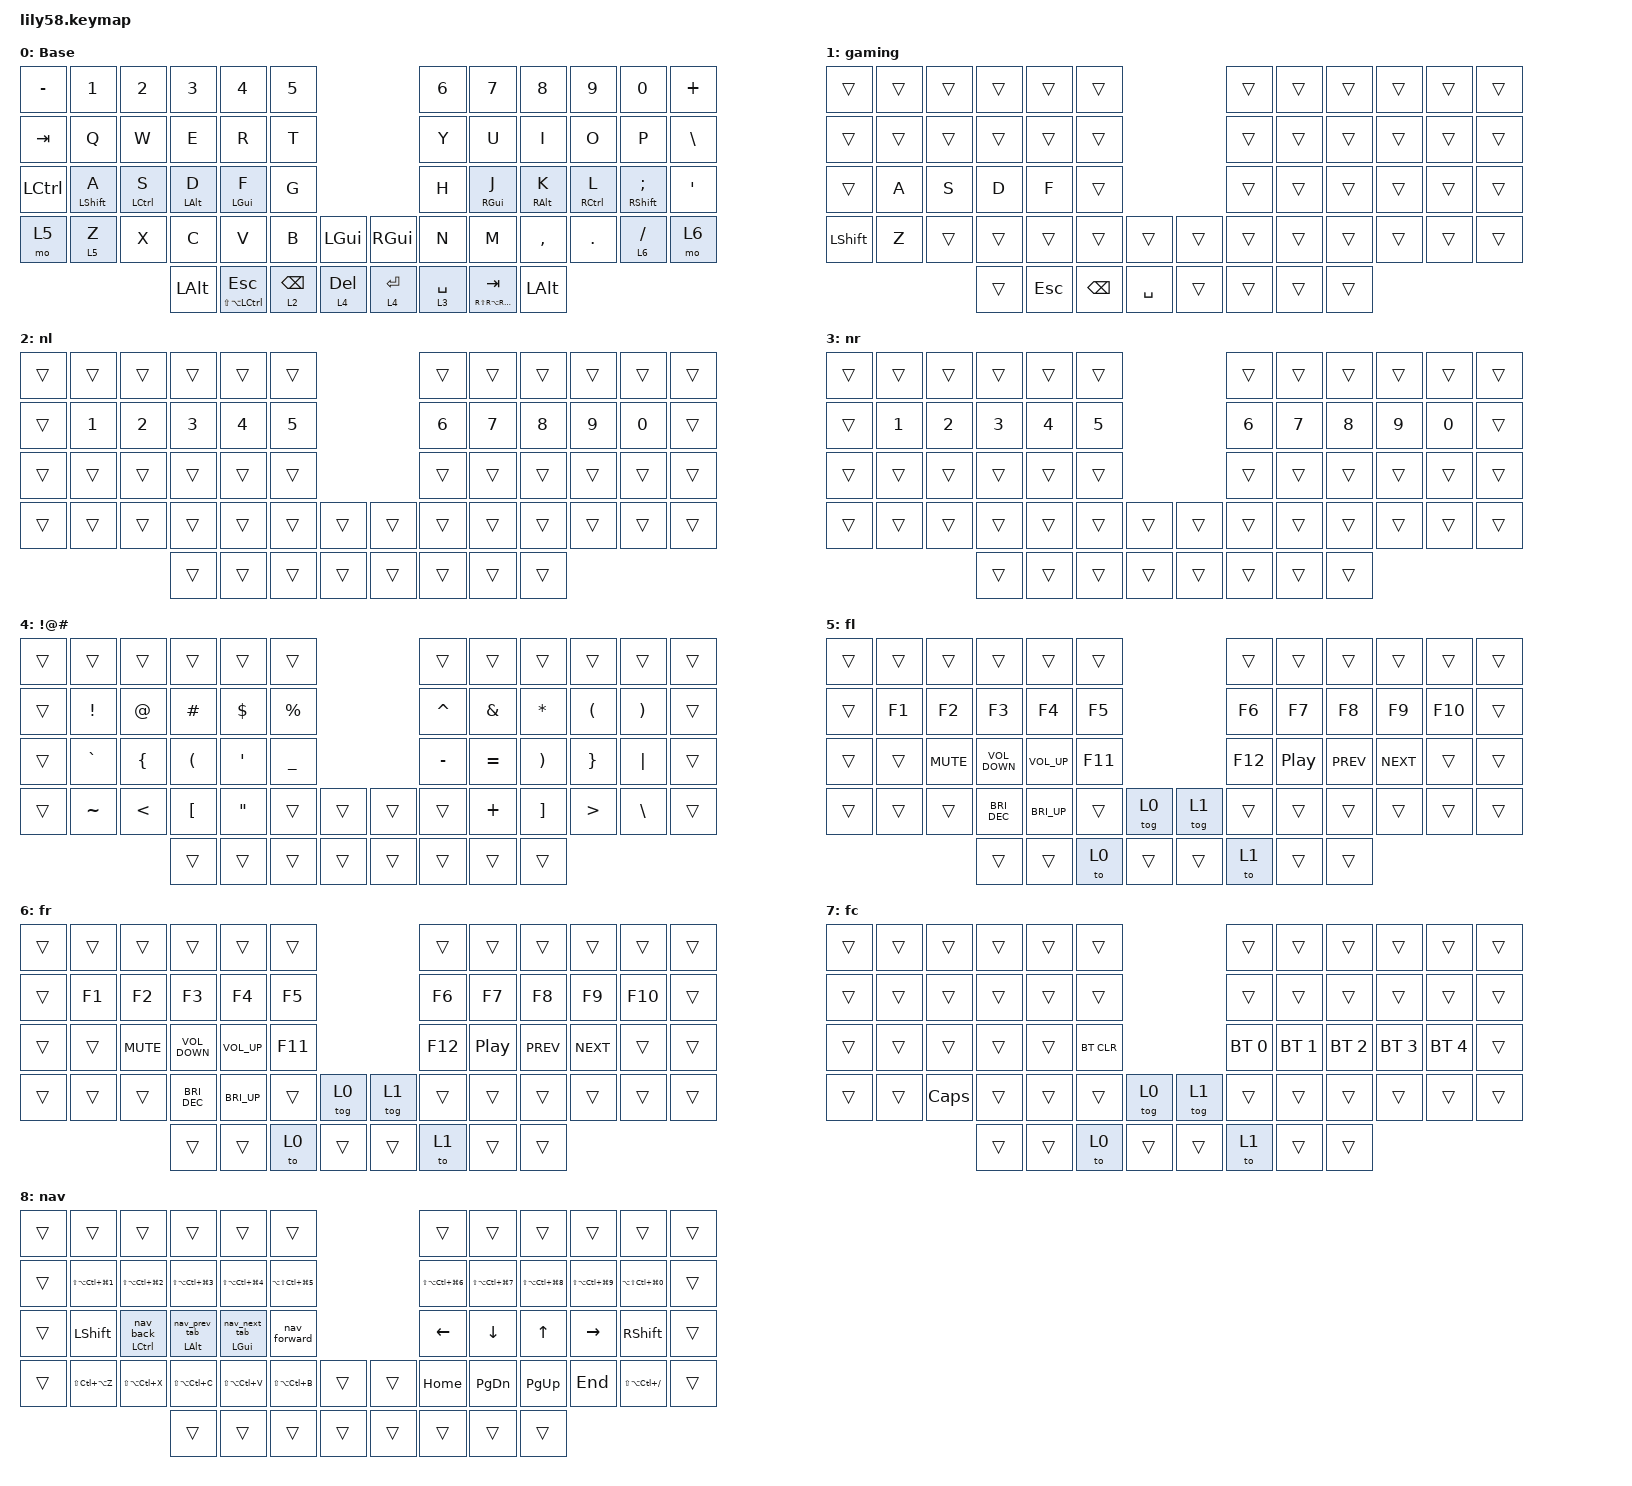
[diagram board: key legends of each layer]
/*
 * Copyright (c) 2020 The ZMK Contributors
 *
 * SPDX-License-Identifier: MIT
 */

#include <behaviors.dtsi>
#include <dt-bindings/zmk/bt.h>
#include <dt-bindings/zmk/keys.h>

&lt {
    tapping-term-ms = <275>;
    quick-tap-ms = <275>;
    require-prior-idle-ms = <100>;
    flavor = "balanced";
    hold-trigger-on-release;
};

&mt {
    tapping-term-ms = <275>;
    quick-tap-ms = <275>;
    require-prior-idle-ms = <100>;
    flavor = "balanced";
    hold-trigger-on-release;
};

/ {
    behaviors {
        hml: hml {
            compatible = "zmk,behavior-hold-tap";
            label = "HOME_ROW_MODS_LEFT";
            #binding-cells = <2>;
            tapping-term-ms = <275>;
            quick-tap-ms = <275>;
            require-prior-idle-ms = <100>;
            flavor = "balanced";
            hold-trigger-key-positions = <6 7 8 9 10 11 18 19 20 21 22 23 30 31 32 33 34 35 43 44 45 46 47 48 49 54 55 56 57>;
            hold-trigger-on-release;
            bindings = <&kp>, <&kp>;
        };

        hmr: hmr {
            compatible = "zmk,behavior-hold-tap";
            label = "HOME_ROW_MODS_RIGHT";
            bindings = <&kp>, <&kp>;

            #binding-cells = <2>;
            tapping-term-ms = <275>;
            quick-tap-ms = <275>;
            require-prior-idle-ms = <100>;
            flavor = "balanced";
            hold-trigger-on-release;
            hold-trigger-key-positions = <0 1 2 3 4 5 12 13 14 15 16 17 24 25 26 27 28 29 36 37 38 39 40 41 42 50 51 52 53>;
        };

        hnpt: hnpt {
            compatible = "zmk,behavior-hold-tap";
            label = "HRM Nav Prev Tab";
            bindings = <&kp>, <&nav_prev_tab>;

            #binding-cells = <2>;
            tapping-term-ms = <275>;
            quick-tap-ms = <275>;
            require-prior-idle-ms = <100>;
            flavor = "balanced";
            hold-trigger-on-release;
            hold-trigger-key-positions = <6 7 8 9 10 11 18 19 20 21 22 23 30 31 32 33 34 35 43 44 45 46 47 48 49 54 55 56 57>;
        };

        hnnt: hnnt {
            compatible = "zmk,behavior-hold-tap";
            label = "HRM Nav Next Tab";
            bindings = <&kp>, <&nav_next_tab>;

            #binding-cells = <2>;
            tapping-term-ms = <275>;
            quick-tap-ms = <275>;
            require-prior-idle-ms = <100>;
            flavor = "balanced";
            hold-trigger-on-release;
            hold-trigger-key-positions = <6 7 8 9 10 11 18 19 20 21 22 23 30 31 32 33 34 35 43 44 45 46 47 48 49 54 55 56 57>;
        };

        hnb: hnb {
            compatible = "zmk,behavior-hold-tap";
            label = "HRM Nav Back";
            bindings = <&kp>, <&nav_back>;

            #binding-cells = <2>;
            tapping-term-ms = <275>;
            quick-tap-ms = <275>;
            require-prior-idle-ms = <100>;
            flavor = "balanced";
            hold-trigger-on-release;
            hold-trigger-key-positions = <6 7 8 9 10 11 18 19 20 21 22 23 30 31 32 33 34 35 43 44 45 46 47 48 49 54 55 56 57>;
        };
    };

    combos {
        compatible = "zmk,combos";

        capslock {
            bindings = <&kp CAPS>;
            key-positions = <25 34 36 49>;
        };
    };

    macros {
        nav_prev_tab: nav_prev_tab {
            compatible = "zmk,behavior-macro";
            #binding-cells = <0>;
            bindings = <&kp LS(LA(LG(LEFT_BRACKET)))>;
            label = "NAV_PREV_TAB";
        };

        nav_next_tab: nav_next_tab {
            compatible = "zmk,behavior-macro";
            #binding-cells = <0>;
            bindings = <&kp LS(LA(LG(RIGHT_BRACKET)))>;
            label = "NAV_NEXT_TAB";
        };

        nav_back: nav_back {
            compatible = "zmk,behavior-macro";
            #binding-cells = <0>;
            bindings = <&kp LS(LG(LC(LEFT_BRACKET)))>;
            label = "NAV_BACK";
        };

        nav_forward: nav_forward {
            compatible = "zmk,behavior-macro";
            #binding-cells = <0>;
            bindings = <&kp LS(LG(LC(RIGHT_BRACKET)))>;
            label = "NAV_FORWARD";
        };
    };

    keymap {
        compatible = "zmk,keymap";

        default_layer {
            // ------------------------------------------------------------------------------------------------------------
            // |  ESC  |  1  |  2  |  3   |  4   |  5   |                   |  6   |  7    |  8    |  9   |   0   |   `   |
            // |  TAB  |  Q  |  W  |  E   |  R   |  T   |                   |  Y   |  U    |  I    |  O   |   P   |   -   |
            // |  CTRL |  A  |  S  |  D   |  F   |  G   |                   |  H   |  J    |  K    |  L   |   ;   |   '   |
            // | SHIFT |  Z  |  X  |  C   |  V   |  B   |   "["  |  |  "]"  |  N   |  M    |  ,    |  .   |   /   | SHIFT |
            //                     | ALT  | GUI  | LOWER|  SPACE |  | ENTER | RAISE| BSPC  | GUI   |

            display-name = "Base";
            bindings = <
&kp MINUS         &kp N1             &kp N2               &kp N3           &kp N4                           &kp N5                                          &kp N6       &kp N7                             &kp N8            &kp N9                &kp N0                      &kp PLUS
&kp TAB           &kp Q              &kp W                &kp E            &kp R                            &kp T                                           &kp Y        &kp U                              &kp I             &kp O                 &kp P                       &kp BACKSLASH
&kp LEFT_CONTROL  &hml LEFT_SHIFT A  &hml LEFT_CONTROL S  &hml LEFT_ALT D  &hml LEFT_GUI F                  &kp G                                           &kp H        &hmr RIGHT_GUI J                   &hmr RIGHT_ALT K  &hmr RIGHT_CONTROL L  &hmr RIGHT_SHIFT SEMICOLON  &kp APOS
&mo 5             &lt 5 Z            &kp X                &kp C            &kp V                            &kp B            &kp LEFT_GUI    &kp RIGHT_GUI  &kp N        &kp M                              &kp COMMA         &kp DOT               &lt 6 SLASH                 &mo 6
                                                          &kp LEFT_ALT     &mt LS(LA(LEFT_CONTROL)) ESCAPE  &lt 2 BACKSPACE  &lt 4 DELETE    &lt 4 ENTER    &lt 3 SPACE  &mt RS(RA(RG(RIGHT_CONTROL))) TAB  &kp LEFT_ALT
            >;
        };

        gaming {
            bindings = <
&trans          &trans  &trans  &trans  &trans   &trans                              &trans  &trans  &trans  &trans  &trans  &trans
&trans          &trans  &trans  &trans  &trans   &trans                              &trans  &trans  &trans  &trans  &trans  &trans
&trans          &kp A   &kp S   &kp D   &kp F    &trans                              &trans  &trans  &trans  &trans  &trans  &trans
&kp LEFT_SHIFT  &kp Z   &trans  &trans  &trans   &trans         &trans       &trans  &trans  &trans  &trans  &trans  &trans  &trans
                                &trans  &kp ESC  &kp BACKSPACE  &kp SPACE    &trans  &trans  &trans  &trans
            >;
        };

        numbers_left {
            bindings = <
&trans  &trans        &trans        &trans        &trans        &trans                          &trans        &trans        &trans        &trans        &trans        &trans
&trans  &kp NUMBER_1  &kp NUMBER_2  &kp NUMBER_3  &kp NUMBER_4  &kp NUMBER_5                    &kp NUMBER_6  &kp NUMBER_7  &kp NUMBER_8  &kp NUMBER_9  &kp NUMBER_0  &trans
&trans  &trans        &trans        &trans        &trans        &trans                          &trans        &trans        &trans        &trans        &trans        &trans
&trans  &trans        &trans        &trans        &trans        &trans        &trans    &trans  &trans        &trans        &trans        &trans        &trans        &trans
                                    &trans        &trans        &trans        &trans    &trans  &trans        &trans        &trans
            >;

            label = "nl";
        };

        numbers_right {
            bindings = <
&trans  &trans        &trans        &trans        &trans        &trans                          &trans        &trans        &trans        &trans        &trans        &trans
&trans  &kp NUMBER_1  &kp NUMBER_2  &kp NUMBER_3  &kp NUMBER_4  &kp NUMBER_5                    &kp NUMBER_6  &kp NUMBER_7  &kp NUMBER_8  &kp NUMBER_9  &kp NUMBER_0  &trans
&trans  &trans        &trans        &trans        &trans        &trans                          &trans        &trans        &trans        &trans        &trans        &trans
&trans  &trans        &trans        &trans        &trans        &trans        &trans    &trans  &trans        &trans        &trans        &trans        &trans        &trans
                                    &trans        &trans        &trans        &trans    &trans  &trans        &trans        &trans
            >;

            label = "nr";
        };

        symbols {
            bindings = <
&trans  &trans           &trans          &trans                &trans             &trans                            &trans     &trans         &trans                 &trans                &trans                 &trans
&trans  &kp EXCLAMATION  &kp AT_SIGN     &kp HASH              &kp DOLLAR         &kp PERCENT                       &kp CARET  &kp AMPERSAND  &kp ASTERISK           &kp LEFT_PARENTHESIS  &kp RIGHT_PARENTHESIS  &trans
&trans  &kp GRAVE        &kp LEFT_BRACE  &kp LEFT_PARENTHESIS  &kp SINGLE_QUOTE   &kp UNDERSCORE                    &kp MINUS  &kp EQUAL      &kp RIGHT_PARENTHESIS  &kp RIGHT_BRACE       &kp PIPE               &trans
&trans  &kp TILDE        &kp LESS_THAN   &kp LEFT_BRACKET      &kp DOUBLE_QUOTES  &trans          &trans    &trans  &trans     &kp PLUS       &kp RIGHT_BRACKET      &kp GREATER_THAN      &kp BACKSLASH          &trans
                                         &trans                &trans             &trans          &trans    &trans  &trans     &trans         &trans
            >;

            label = "!@#";
        };

        function_left {
            bindings = <
&trans  &trans  &trans      &trans             &trans           &trans                     &trans   &trans    &trans      &trans      &trans   &trans
&trans  &kp F1  &kp F2      &kp F3             &kp F4           &kp F5                     &kp F6   &kp F7    &kp F8      &kp F9      &kp F10  &trans
&trans  &trans  &kp C_MUTE  &kp C_VOLUME_DOWN  &kp C_VOLUME_UP  &kp F11                    &kp F12  &kp C_PP  &kp C_PREV  &kp C_NEXT  &trans   &trans
&trans  &trans  &trans      &kp C_BRI_DEC      &kp C_BRI_UP     &trans   &tog 0    &tog 1  &trans   &trans    &trans      &trans      &trans   &trans
                            &trans             &trans           &to 0    &trans    &trans  &to 1    &trans    &trans
            >;

            label = "fl";
        };

        function_right {
            bindings = <
&trans  &trans  &trans      &trans             &trans           &trans                     &trans   &trans    &trans      &trans      &trans   &trans
&trans  &kp F1  &kp F2      &kp F3             &kp F4           &kp F5                     &kp F6   &kp F7    &kp F8      &kp F9      &kp F10  &trans
&trans  &trans  &kp C_MUTE  &kp C_VOLUME_DOWN  &kp C_VOLUME_UP  &kp F11                    &kp F12  &kp C_PP  &kp C_PREV  &kp C_NEXT  &trans   &trans
&trans  &trans  &trans      &kp C_BRI_DEC      &kp C_BRI_UP     &trans   &tog 0    &tog 1  &trans   &trans    &trans      &trans      &trans   &trans
                            &trans             &trans           &to 0    &trans    &trans  &to 1    &trans    &trans
            >;

            label = "fr";
        };

        function_conditional {
            bindings = <
&trans  &trans  &trans    &trans  &trans  &trans                        &trans        &trans        &trans        &trans        &trans        &trans
&trans  &trans  &trans    &trans  &trans  &trans                        &trans        &trans        &trans        &trans        &trans        &trans
&trans  &trans  &trans    &trans  &trans  &bt BT_CLR                    &bt BT_SEL 0  &bt BT_SEL 1  &bt BT_SEL 2  &bt BT_SEL 3  &bt BT_SEL 4  &trans
&trans  &trans  &kp CAPS  &trans  &trans  &trans      &tog 0    &tog 1  &trans        &trans        &trans        &trans        &trans        &trans
                          &trans  &trans  &to 0       &trans    &trans  &to 1         &trans        &trans
            >;

            label = "fc";
        };

        navigation {
            bindings = <
&trans  &trans                        &trans                        &trans                        &trans                        &trans                                          &trans                        &trans                        &trans                        &trans                        &trans                        &trans
&trans  &kp LS(LA(LC(LG(NUMBER_1))))  &kp LS(LA(LC(LG(NUMBER_2))))  &kp LS(LA(LC(LG(NUMBER_3))))  &kp LS(LA(LC(LG(NUMBER_4))))  &kp LA(LS(LC(LG(NUMBER_5))))                    &kp LS(LA(LC(LG(NUMBER_6))))  &kp LS(LA(LC(LG(NUMBER_7))))  &kp LS(LA(LC(LG(NUMBER_8))))  &kp LS(LA(LC(LG(NUMBER_9))))  &kp LA(LS(LC(LG(NUMBER_0))))  &trans
&trans  &kp LEFT_SHIFT                &hnb LEFT_CONTROL 0           &hnpt LEFT_ALT 0              &hnnt LEFT_GUI 0              &nav_forward                                    &kp LEFT                      &kp DOWN                      &kp UP_ARROW                  &kp RIGHT                     &kp RIGHT_SHIFT               &trans
&trans  &kp LS(LC(LA(Z)))             &kp LS(LA(LC(X)))             &kp LS(LA(LC(C)))             &kp LS(LA(LC(V)))             &kp LS(LA(LC(B)))             &trans    &trans  &kp HOME                      &kp PAGE_DOWN                 &kp PAGE_UP                   &kp END                       &kp LS(LA(LC(SLASH)))         &trans
                                                                    &trans                        &trans                        &trans                        &trans    &trans  &trans                        &trans                        &trans
            >;

            label = "nav";
        };
    };

    conditional_layers {
        compatible = "zmk,conditional-layers";

        Navigation {
            if-layers = <2 3>;
            then-layer = <8>;
        };

        Function {
            if-layers = <5 6>;
            then-layer = <7>;
        };
    };
};
